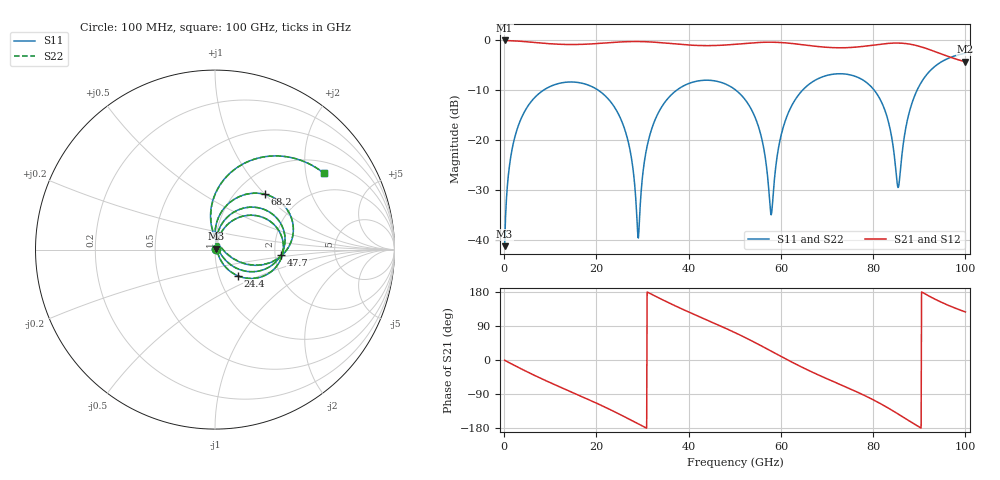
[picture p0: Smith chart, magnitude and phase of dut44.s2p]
! Touchstone file exported from HFSS 2026.1.0
!  File:  C:/ffzhzh/LocalFiles/Ansys_Project_Files/temp_train_TSV_RDL_44_1783443558_28540.aedt
!  Generated:  01:07:38 AM Jul  8, 2026
!  Design:  TSV_RDL
!  Project:  temp_train_TSV_RDL_44_1783443558_28540
! Variables:
!  h_bsmrdl = 4.3um
!  h_ox = 20um
!  h_rdl = 5um
!  h_sub = 54.56um
!  h_tmrdl = 3.91um
!  h_tsv = 54.56um
!  h_via = 3um
!  l_bsmrdl = 108.05um
!  l_sub = 2027.55um
!  l_tmrdl = 293.27um
!  m_sub = 200um
!  pitch = 47.32um
!  r_tsv = 13.36um
!  s_tmrdl = 10um
!  w_bsmrdl = 18.33um
!  w_sub = 500um
!  w_tmrdl = 25.11um
!  x_tsv_center1 = 305.825um
!  x_tsv_center2 = 432.205um
!  x_tsv_center3 = 750.585um
!  x_tsv_center4 = 876.965um
!  x_tsv_center5 = 1195.345um
!  x_tsv_center6 = 1321.725um
# GHz S MA R 50.000000
! Terminal data exported
! Port[1] = TM_RDL1_1_T1
! Port[2] = TM_RDL5_1_T1
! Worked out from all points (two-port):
!   1000 points, 100 MHz to 100 GHz, reference 50 ohm
!   highest |S21| = -0.06 dB at 100 MHz (marker M1); lowest = -4.3 dB at 100 GHz (marker M2)
!   |S21| within 3 dB of the highest: start of sweep to 95.66 GHz
!   lowest |S11| = -41.2 dB at 100 MHz (marker M3), VSWR 1.02, Z = 50.7 + j0.532 ohm
!   |S11| at or under -10 dB: 20.38 GHz to 37.43 GHz (17.05 GHz wide, 59 % of centre); 50.22 GHz to 64.71 GHz (14.49 GHz wide, 25.2 % of centre); 80.22 GHz to 89.53 GHz (9.31 GHz wide, 11 % of centre) (the widest 3 of 4)
!   |S22| runs from -41.2 to -2.6 dB; largest |S21 - S12| = 1.9e-14
!   S11 on the Smith chart (normalised r, x): 100 MHz: 1.01, +0.01; 24.4 GHz: 1.23, -0.38; 47.7 GHz: 2.15, -0.15; 68.2 GHz: 1.34, +1.00; 100 GHz: 1.34, +2.53
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0.1  0.008682 37.2  0.9931 -0.7  0.9931 -0.7  0.008682 37.2
! Gamma 0 0 0 0
! Port Impedance 50 0 50 0
1.5  0.07107 72.5  0.9878 -9.6  0.9878 -9.6  0.07106 72.5
4.3  0.1882 58.9  0.9686 -27.1  0.9686 -27.1  0.1882 58.9
16.8  0.3716 -7.8  0.9078 -96.2  0.9078 -96.2  0.3715 -7.7
24.4  0.1963 -48.6  0.9547 -139.4  0.9547 -139.4  0.1962 -48.4
27.2  0.08341 -61.5  0.9676 -156.7  0.9676 -156.7  0.08339 -60.9
29.1  0.01047 18.7  0.9691 -168.6  0.9691 -168.6  0.0112 18.7
30.8  0.0783 81.6  0.9645 -179.3  0.9645 -179.3  0.07851 81.1
33.4  0.1864 70.2  0.9483 164.6  0.9483 164.6  0.1866 70.1
47.7  0.3687 -4.8  0.8925 85.4  0.8925 85.4  0.3687 -4.7
50.1  0.3193 -17.4  0.9092 71.9  0.9092 71.9  0.3193 -17.4
55.1  0.1381 -42.8  0.9475 41.6  0.9475 41.6  0.1381 -42.6
57.9  0.01787 23.8  0.9542 23.4  0.9542 23.4  0.0182 23.9
60.9  0.1537 86.3  0.9404 3.8  0.9404 3.8  0.1537 86.2
66.7  0.3788 56.0  0.8769 -31.5  0.8769 -31.5  0.3788 56.0
68.2  0.4144 48.1  0.8617 -39.8  0.8617 -39.8  0.4144 48.2
77.9  0.3962 -1.0  0.8668 -92.3  0.8668 -92.3  0.3962 -0.8
83.4  0.1469 -26.9  0.9289 -127.7  0.9289 -127.7  0.147 -26.3
85.5  0.03402 44.9  0.9352 -143.1  0.9352 -143.1  0.03571 44.9
87.5  0.1644 98.4  0.9193 -158.3  0.9193 -158.3  0.1651 97.9
90  0.3489 86.7  0.8682 -176.8  0.8682 -176.8  0.3493 86.5
100  0.7409 35.0  0.6074 126.8  0.6074 126.8  0.7411 35.0
